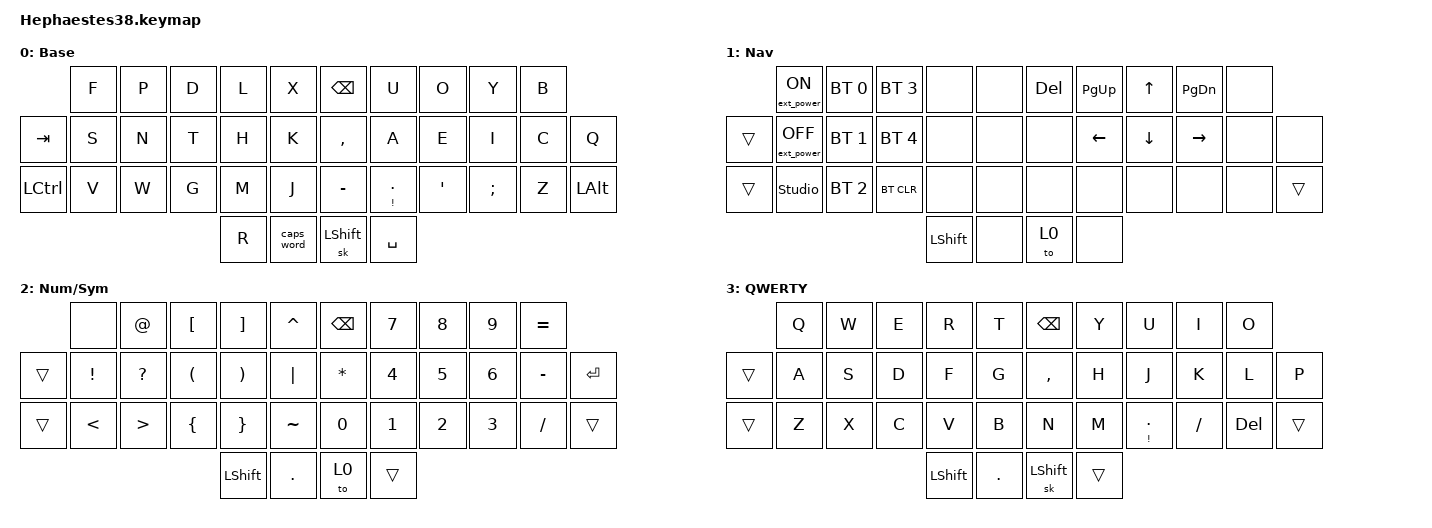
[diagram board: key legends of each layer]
#include <behaviors.dtsi>
#include <dt-bindings/zmk/keys.h>
#include <dt-bindings/zmk/ext_power.h>
#include <dt-bindings/zmk/bt.h>

&sk {
    release-after-ms = <500>;
    quick-release;
};

/{
    combos {
        compatible = "zmk,combos";
        combo_Nav_Layer {
            timeout-ms = <50>;
            key-positions = <13 34>;
            bindings = <&tog 1>;
        };
        combo_NUM_Layer {
            timeout-ms = <50>;
            key-positions = <18 37>;
            bindings = <&tog 2>;
        };
        combo_Layer3 {
            timeout-ms = <50>;
            key-positions = <4 5>;
            bindings =  <&tog 3>;
        };
        combo_layer4 {
            timeout-ms = <50>;
            key-positions = <15 16>;
            bindings = <&tog 4>;
        };
        combo_layer5 {
            timeout-ms = <50>;
            key-positions = <27 28>;
            bindings = <&tog 5>;
        }; 
        combo_ESC {
            timeout-ms = <50>;
            key-positions = <13 14>;
            bindings = <&kp ESC>;
        };
        combo_Enter {
            timeout-ms = <50>;
            key-positions = <17 18 19>;
            bindings = <&kp ENTER>;
        };
        combo_Windows {
            timeout-ms = <50>;
            key-positions = <12 14>;
            bindings = <&kp LEFT_GUI>;
        };
        combo_Delete {
            timeout-ms = <50>;
            key-positions = <2 3>;
            bindings = <&kp DEL>;
        };
    };

    keymap {
        compatible = "zmk,keymap";
        default_layer { //Default
            display-name = "Base";
            bindings = <
                            &kp F   &kp P   &kp D   &kp L   &kp X       &kp BSPC    &kp U           &kp O           &kp Y       &kp B
                &kp TAB     &kp S   &kp N   &kp T   &kp H   &kp K       &kp COMMA   &kp A           &kp E           &kp I       &kp C   &kp Q
                &kp LCTRL   &kp V   &kp W   &kp G   &kp M   &kp J       &kp MINUS   &mt EXCL DOT    &kp SQT         &kp SEMI    &kp Z   &kp LALT
                                                    &kp R  &caps_word    &sk LSHIFT  &kp SPACE
            >;
        };

        Nav_Layer { //Nav/BLE
            display-name = "Nav";
            bindings = <
                            &ext_power EP_ON    &bt BT_SEL 0   &bt BT_SEL 3     &none   &none       &kp DEL     &kp PG_UP       &kp UP          &kp PG_DN   &none
                &trans      &ext_power EP_OFF   &bt BT_SEL 1   &bt BT_SEL 4     &none   &none       &none       &kp LEFT        &kp DOWN        &kp RIGHT   &none   &none
                &trans      &studio_unlock          &bt BT_SEL 2   &bt BT_CLR   &none   &none       &none       &none           &none           &none       &none   &trans
                                                                    &kp LSHIFT  &none       &to 0       &none
            >;
        };

        Number_Layer { //Num/Sym
            display-name = "Num/Sym";
            bindings = <
                            &none       &kp AT_SIGN &kp LBKT    &kp RBKT    &kp CARET   &kp BSPC        &kp N7      &kp N8      &kp N9  &kp EQUAL
                &trans      &kp EXCL    &kp QMARK   &kp LPAR    &kp RPAR    &kp PIPE    &kp STAR        &kp N4      &kp N5      &kp N6  &kp MINUS   &kp ENTER
                &trans      &kp LT      &kp GT      &kp LBRC    &kp RBRC    &kp TILDE   &kp N0          &kp N1      &kp N2      &kp N3  &kp FSLH    &trans
                                                                &kp LSHIFT  &kp DOT     &to 0           &trans
            >;
        }; 

        QWERTY_Layer {
            display-name = "QWERTY";
            bindings = <
                            &kp Q       &kp W       &kp E       &kp R       &kp T       &kp BSPC        &kp Y       &kp U         &kp I     &kp O
                &trans      &kp A       &kp S       &kp D       &kp F       &kp G       &kp COMMA       &kp H       &kp J         &kp K     &kp L      &kp P
                &trans      &kp Z       &kp X       &kp C       &kp V       &kp B       &kp N           &kp M       &mt EXCL DOT  &kp FSLH  &kp DEL    &trans
                                                                &kp LSHIFT  &kp DOT     &sk LSHIFT      &trans
            >;
        };

        extra2 {
            status = "reserved";
        };
        extra3 {
            status = "reserved";
        };
    };
};
